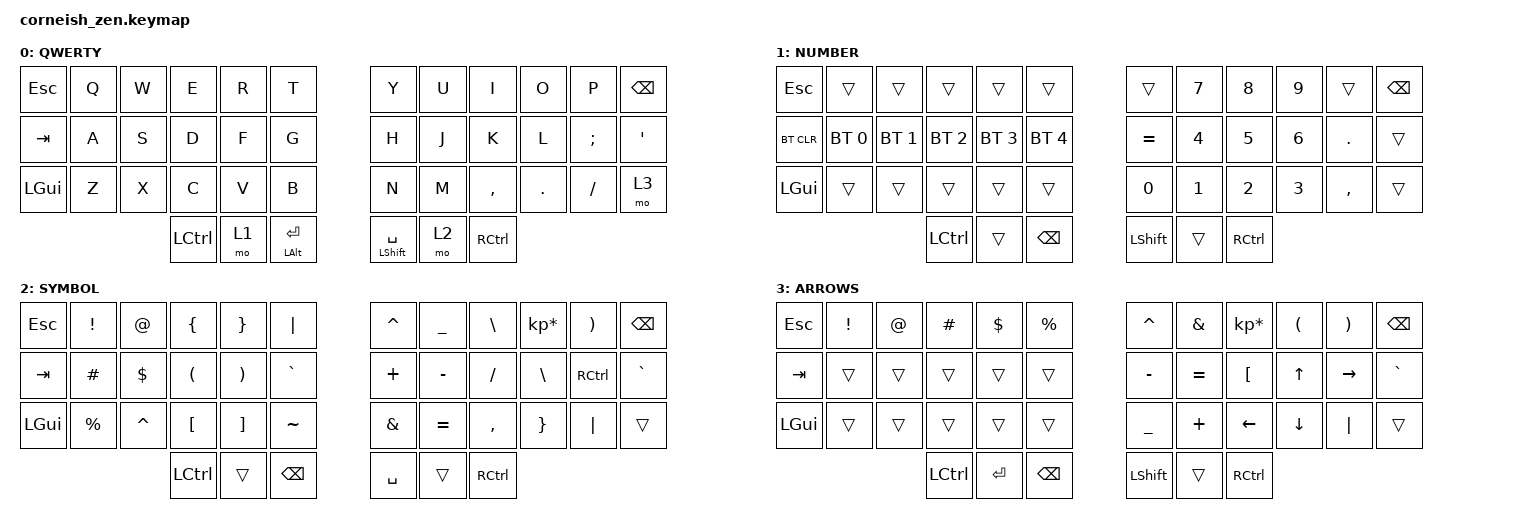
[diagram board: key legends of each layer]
#include <behaviors.dtsi>
#include <dt-bindings/zmk/keys.h>
#include <dt-bindings/zmk/bt.h>

/ {
  chosen {
    zmk,matrix_transform = &default_transform;
    //zmk,matrix_transform = &five_column_transform;
  };

};

/ {
        keymap {
                compatible = "zmk,keymap";

                default_layer {
                        label = "QWERTY";
// -----------------------------------------------------------------------------------------
// | ESC |  Q  |  W  |  E  |  R  |  T  |   |  Y  |  U   |  I  |  O  |  P  | BKSP |
// | TAB |  A  |  S  |  D  |  F  |  G  |   |  H  |  J   |  K  |  L  |  ;  |  '   |
// | LGUI |  Z  |  X  |  C  |  V  |  B  |   |  N  |  M   |  ,  |  .  |  /  | nav_layer  |
//                    | LCTRL | LWR | mt ALT RETURN |   | mt SHIFT SPACE | RSE  | ALT |
                        bindings = <
   &kp ESC   &kp Q &kp W &kp E &kp R &kp T   &kp Y &kp U  &kp I     &kp O   &kp P    &kp BSPC
   &kp TAB   &kp A &kp S &kp D &kp F &kp G   &kp H &kp J  &kp K     &kp L   &kp SEMI &kp SQT
   &kp LGUI  &kp Z &kp X &kp C &kp V &kp B   &kp N &kp M  &kp COMMA &kp DOT &kp FSLH &mo 3
                  &kp LCTRL &mo 1 &mt LALT RET   &mt LSHFT SPACE &mo 2 &kp RCTRL
                        >;
                };
                lower_layer {
                        label = "NUMBER";
// -----------------------------------------------------------------------------------------
// | ESC  |  1  |  2  |  3  |  4  |  5  |   |    |  7  |  8  |  9  |    | BKSP |
// | TAB  | BT1 | BT2 | BT3 | BT4 | BT5 |   |  = |  4  |  5  |  6  |    |      |
// | LGUI |     |     |     |     |     |   |  0  |  1 |  2  |  3  |    |      |
//                    | LCTRL |     | BSPC |   | LSHFT |     | ALT |
                        bindings = <
   &kp ESC    &trans       &trans       &trans       &trans       &trans        &trans    &kp N7  &kp N8 &kp N9 &trans     &kp BSPC
   &bt BT_CLR &bt BT_SEL 0 &bt BT_SEL 1 &bt BT_SEL 2 &bt BT_SEL 3 &bt BT_SEL 4  &kp EQUAL &kp N4  &kp N5 &kp N6 &kp DOT    &trans
   &kp LGUI   &trans       &trans       &trans       &trans       &trans        &kp N0    &kp N1  &kp N2 &kp N3 &kp COMMA  &trans
                          	            &kp LCTRL    &trans       &kp BSPC      &kp LSHFT  &trans &kp RCTRL
                        >;
                };

                raise_layer {
                        label = "SYMBOL";
// -----------------------------------------------------------------------------------------
// |  TAB |  !  |  @  |  #  |  $  |  %  |   |  ^  |  &  |  *  |  (  |  )  | BKSP |
// | CTRL |     |     |     |     |     |   |  -  |  =  |  [  |  ]  |  \  |  `   |
// | SHFT |     |     |     |     |     |   |  _  |  +  |  {  |  }  | "|" |  ~   |
//                    | GUI |     | SPC |   | ENT |     | ALT |
                        bindings = <
   &kp ESC        &kp EXCL  &kp AT    &kp LBRC    &kp RBRC  &kp PIPE       &kp CARET  &kp UNDER   &kp BSLH    &kp KP_MULTIPLY &kp RPAR &kp BSPC
   &kp TAB        &kp HASH  &kp DLLR  &kp LPAR    &kp RPAR  &kp GRAVE      &kp PLUS   &kp MINUS   &kp FSLH    &kp BSLH        &kp RCTRL &kp GRAVE
   &kp LGUI       &kp PRCNT &kp CARET &kp LBKT    &kp RBKT  &kp TILDE      &kp AMPS   &kp EQUAL   &kp COMMA   &kp RBRC        &kp PIPE &trans
                    	                &kp LCTRL   &trans    &kp BSPC       &kp SPACE  &trans      &kp RCTRL
                        >;
                };
                
                nav_layer {
                        label = "ARROWS";
// -----------------------------------------------------------------------------------------
// | ESC |  !  |  @  |  #  |  $  |  %  |   |  ^  |  &  |  *  |  (  |  )  | BKSP |
// | TAB |     |     |     |     |     |   |  -  |  =  |  [  |  ]  |  \  |  `   |
// | GUI |     |     |     |     |     |   |  _  |  +  |  {  |  }  | "|" |&trans|
//                   | CTRL|     | RET |   | SHFT|     | ALT |
                        bindings = <
   &kp ESC  &kp EXCL &kp AT &kp HASH &kp DLLR &kp PRCNT   &kp CARET &kp AMPS  &kp KP_MULTIPLY &kp LPAR &kp RPAR &kp BSPC
   &kp TAB  &trans   &trans &trans   &trans   &trans      &kp MINUS &kp EQUAL &kp LBKT        &kp UP &kp RIGHT &kp GRAVE
   &kp LGUI &trans   &trans &trans   &trans   &trans      &kp UNDER &kp PLUS  &kp LEFT       &kp DOWN &kp PIPE &trans
                    	     &kp LCTRL &kp RET  &kp BSPC     &kp LSHFT   &trans    &kp RCTRL
                        >;
                };
        };
};
